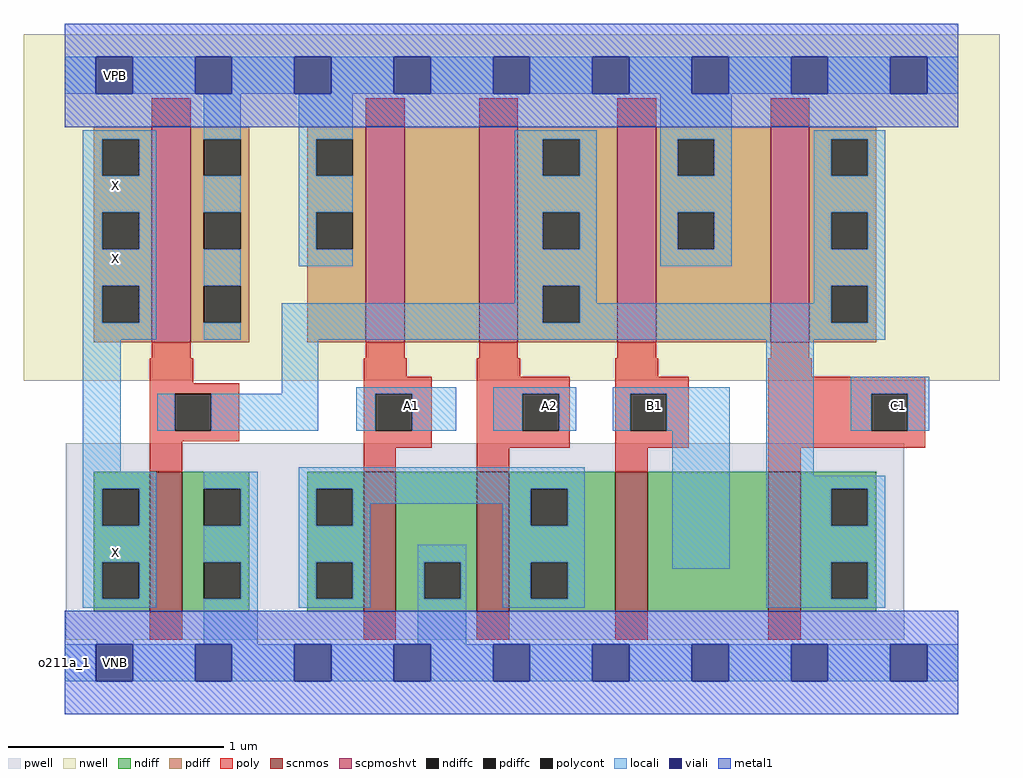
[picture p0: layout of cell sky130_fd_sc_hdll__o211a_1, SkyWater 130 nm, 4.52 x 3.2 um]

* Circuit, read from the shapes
.subckt sky130_fd_sc_hdll__o211a_1 A1 A2 B1 C1 VGND VNB VPB VPWR X
XM1 VGND n1 X VNB sky130_fd_pr__nfet_01v8 w=0.65 l=0.15
XM2 VGND A1 n2 VNB sky130_fd_pr__nfet_01v8 w=0.65 l=0.15
XM3 n2 A2 VGND VNB sky130_fd_pr__nfet_01v8 w=0.65 l=0.15
XM4 n3 B1 n2 VNB sky130_fd_pr__nfet_01v8 w=0.65 l=0.15
XM5 n1 C1 n3 VNB sky130_fd_pr__nfet_01v8 w=0.65 l=0.15
XM6 VPWR n1 X VPB sky130_fd_pr__pfet_01v8_hvt w=1 l=0.18
XM7 n4 A1 VPWR VPB sky130_fd_pr__pfet_01v8_hvt w=1 l=0.18
XM8 n1 A2 n4 VPB sky130_fd_pr__pfet_01v8_hvt w=1 l=0.18
XM9 VPWR B1 n1 VPB sky130_fd_pr__pfet_01v8_hvt w=1 l=0.18
XM10 n1 C1 VPWR VPB sky130_fd_pr__pfet_01v8_hvt w=1 l=0.18
.ends

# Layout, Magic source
magic
tech sky130A
magscale 1 2
<< nwell >>
rect -38 261 866 582
<< pwell >>
rect 1 21 778 203
rect 30 -17 64 21
<< scnmos >>
rect 79 47 109 177
rect 277 47 307 177
rect 382 47 412 177
rect 510 47 540 177
rect 652 47 682 177
<< scpmoshvt >>
rect 81 297 117 497
rect 279 297 315 497
rect 384 297 420 497
rect 512 297 548 497
rect 654 297 690 497
<< ndiff >>
rect 27 161 79 177
rect 27 127 35 161
rect 69 127 79 161
rect 27 93 79 127
rect 27 59 35 93
rect 69 59 79 93
rect 27 47 79 59
rect 109 161 171 177
rect 109 127 129 161
rect 163 127 171 161
rect 109 93 171 127
rect 109 59 129 93
rect 163 59 171 93
rect 109 47 171 59
rect 225 161 277 177
rect 225 127 233 161
rect 267 127 277 161
rect 225 93 277 127
rect 225 59 233 93
rect 267 59 277 93
rect 225 47 277 59
rect 307 93 382 177
rect 307 59 333 93
rect 367 59 382 93
rect 307 47 382 59
rect 412 161 510 177
rect 412 127 432 161
rect 466 127 510 161
rect 412 93 510 127
rect 412 59 432 93
rect 466 59 510 93
rect 412 47 510 59
rect 540 47 652 177
rect 682 161 752 177
rect 682 127 710 161
rect 744 127 752 161
rect 682 93 752 127
rect 682 59 710 93
rect 744 59 752 93
rect 682 47 752 59
<< pdiff >>
rect 27 485 81 497
rect 27 451 35 485
rect 69 451 81 485
rect 27 417 81 451
rect 27 383 35 417
rect 69 383 81 417
rect 27 349 81 383
rect 27 315 35 349
rect 69 315 81 349
rect 27 297 81 315
rect 117 485 171 497
rect 117 451 129 485
rect 163 451 171 485
rect 117 417 171 451
rect 117 383 129 417
rect 163 383 171 417
rect 117 349 171 383
rect 117 315 129 349
rect 163 315 171 349
rect 117 297 171 315
rect 225 485 279 497
rect 225 451 233 485
rect 267 451 279 485
rect 225 417 279 451
rect 225 383 233 417
rect 267 383 279 417
rect 225 297 279 383
rect 315 297 384 497
rect 420 485 512 497
rect 420 451 443 485
rect 477 451 512 485
rect 420 417 512 451
rect 420 383 443 417
rect 477 383 512 417
rect 420 349 512 383
rect 420 315 443 349
rect 477 315 512 349
rect 420 297 512 315
rect 548 485 654 497
rect 548 451 568 485
rect 602 451 654 485
rect 548 417 654 451
rect 548 383 568 417
rect 602 383 654 417
rect 548 297 654 383
rect 690 485 752 497
rect 690 451 710 485
rect 744 451 752 485
rect 690 417 752 451
rect 690 383 710 417
rect 744 383 752 417
rect 690 349 752 383
rect 690 315 710 349
rect 744 315 752 349
rect 690 297 752 315
<< ndiffc >>
rect 35 127 69 161
rect 35 59 69 93
rect 129 127 163 161
rect 129 59 163 93
rect 233 127 267 161
rect 233 59 267 93
rect 333 59 367 93
rect 432 127 466 161
rect 432 59 466 93
rect 710 127 744 161
rect 710 59 744 93
<< pdiffc >>
rect 35 451 69 485
rect 35 383 69 417
rect 35 315 69 349
rect 129 451 163 485
rect 129 383 163 417
rect 129 315 163 349
rect 233 451 267 485
rect 233 383 267 417
rect 443 451 477 485
rect 443 383 477 417
rect 443 315 477 349
rect 568 451 602 485
rect 568 383 602 417
rect 710 451 744 485
rect 710 383 744 417
rect 710 315 744 349
<< poly >>
rect 81 497 117 523
rect 279 497 315 523
rect 384 497 420 523
rect 512 497 548 523
rect 654 497 690 523
rect 81 282 117 297
rect 279 282 315 297
rect 384 282 420 297
rect 512 282 548 297
rect 654 282 690 297
rect 79 259 119 282
rect 277 265 317 282
rect 382 265 422 282
rect 510 265 550 282
rect 652 265 692 282
rect 79 249 162 259
rect 79 215 102 249
rect 136 215 162 249
rect 79 205 162 215
rect 277 249 340 265
rect 277 215 288 249
rect 322 215 340 249
rect 79 177 109 205
rect 277 199 340 215
rect 382 249 468 265
rect 382 215 424 249
rect 458 215 468 249
rect 382 199 468 215
rect 510 249 578 265
rect 510 215 524 249
rect 558 215 578 249
rect 510 199 578 215
rect 652 249 797 265
rect 652 215 747 249
rect 781 215 797 249
rect 652 199 797 215
rect 277 177 307 199
rect 382 177 412 199
rect 510 177 540 199
rect 652 177 682 199
rect 79 21 109 47
rect 277 21 307 47
rect 382 21 412 47
rect 510 21 540 47
rect 652 21 682 47
<< polycont >>
rect 102 215 136 249
rect 288 215 322 249
rect 424 215 458 249
rect 524 215 558 249
rect 747 215 781 249
<< locali >>
rect 0 527 29 561
rect 63 527 121 561
rect 155 527 213 561
rect 247 527 305 561
rect 339 527 397 561
rect 431 527 489 561
rect 523 527 581 561
rect 615 527 673 561
rect 707 527 765 561
rect 799 527 828 561
rect 17 485 85 493
rect 17 451 35 485
rect 69 451 85 485
rect 17 417 85 451
rect 17 383 35 417
rect 69 383 85 417
rect 17 349 85 383
rect 17 315 35 349
rect 69 315 85 349
rect 17 299 85 315
rect 129 485 163 527
rect 129 417 163 451
rect 129 349 163 383
rect 217 485 267 527
rect 217 451 233 485
rect 217 417 267 451
rect 217 383 233 417
rect 217 367 267 383
rect 417 485 493 493
rect 417 451 443 485
rect 477 451 493 485
rect 417 417 493 451
rect 417 383 443 417
rect 477 383 493 417
rect 417 349 493 383
rect 552 485 618 527
rect 552 451 568 485
rect 602 451 618 485
rect 552 417 618 451
rect 552 383 568 417
rect 602 383 618 417
rect 552 367 618 383
rect 694 485 760 493
rect 694 451 710 485
rect 744 451 760 485
rect 694 417 760 451
rect 694 383 710 417
rect 744 383 760 417
rect 417 333 443 349
rect 129 299 163 315
rect 201 315 443 333
rect 477 333 493 349
rect 694 349 760 383
rect 694 333 710 349
rect 477 315 710 333
rect 744 315 760 349
rect 201 299 760 315
rect 17 177 52 299
rect 201 249 235 299
rect 86 215 102 249
rect 136 215 235 249
rect 270 249 363 255
rect 270 215 288 249
rect 322 215 363 249
rect 397 249 474 255
rect 397 215 424 249
rect 458 215 474 249
rect 508 249 616 255
rect 508 215 524 249
rect 558 215 616 249
rect 17 161 85 177
rect 17 127 35 161
rect 69 127 85 161
rect 17 93 85 127
rect 17 59 35 93
rect 69 59 85 93
rect 17 51 85 59
rect 129 161 179 177
rect 163 127 179 161
rect 129 93 179 127
rect 163 59 179 93
rect 129 17 179 59
rect 217 161 482 181
rect 217 127 233 161
rect 267 147 432 161
rect 267 127 283 147
rect 217 93 283 127
rect 406 127 432 147
rect 466 127 482 161
rect 217 59 233 93
rect 267 59 283 93
rect 217 51 283 59
rect 327 93 372 109
rect 327 59 333 93
rect 367 59 372 93
rect 327 17 372 59
rect 406 93 482 127
rect 406 59 432 93
rect 466 59 482 93
rect 563 87 616 215
rect 650 173 694 299
rect 728 249 801 265
rect 728 215 747 249
rect 781 215 801 249
rect 650 161 760 173
rect 650 127 710 161
rect 744 127 760 161
rect 650 93 760 127
rect 406 51 482 59
rect 650 59 710 93
rect 744 59 760 93
rect 650 51 760 59
rect 0 -17 29 17
rect 63 -17 121 17
rect 155 -17 213 17
rect 247 -17 305 17
rect 339 -17 397 17
rect 431 -17 489 17
rect 523 -17 581 17
rect 615 -17 673 17
rect 707 -17 765 17
rect 799 -17 828 17
<< viali >>
rect 29 527 63 561
rect 121 527 155 561
rect 213 527 247 561
rect 305 527 339 561
rect 397 527 431 561
rect 489 527 523 561
rect 581 527 615 561
rect 673 527 707 561
rect 765 527 799 561
rect 29 -17 63 17
rect 121 -17 155 17
rect 213 -17 247 17
rect 305 -17 339 17
rect 397 -17 431 17
rect 489 -17 523 17
rect 581 -17 615 17
rect 673 -17 707 17
rect 765 -17 799 17
<< metal1 >>
rect 0 561 828 592
rect 0 527 29 561
rect 63 527 121 561
rect 155 527 213 561
rect 247 527 305 561
rect 339 527 397 561
rect 431 527 489 561
rect 523 527 581 561
rect 615 527 673 561
rect 707 527 765 561
rect 799 527 828 561
rect 0 496 828 527
rect 0 17 828 48
rect 0 -17 29 17
rect 63 -17 121 17
rect 155 -17 213 17
rect 247 -17 305 17
rect 339 -17 397 17
rect 431 -17 489 17
rect 523 -17 581 17
rect 615 -17 673 17
rect 707 -17 765 17
rect 799 -17 828 17
rect 0 -48 828 -17
<< labels >>
flabel locali s 755 221 789 255 0 FreeSans 250 0 0 0 C1
port 4 nsew signal input
flabel locali s 524 221 568 255 0 FreeSans 250 0 0 0 B1
port 3 nsew signal input
flabel locali s 432 221 466 255 0 FreeSans 250 0 0 0 A2
port 2 nsew signal input
flabel locali s 304 221 338 255 0 FreeSans 250 0 0 0 A1
port 1 nsew signal input
flabel locali s 30 85 64 119 0 FreeSans 250 0 0 0 X
port 9 nsew signal output
flabel locali s 30 425 64 459 0 FreeSans 250 0 0 0 X
port 9 nsew signal output
flabel locali s 30 357 64 391 0 FreeSans 250 0 0 0 X
port 9 nsew signal output
flabel pwell s 30 -17 64 17 0 FreeSans 200 0 0 0 VNB
port 6 nsew ground bidirectional
flabel nwell s 30 527 64 561 0 FreeSans 200 0 0 0 VPB
port 7 nsew power bidirectional
flabel metal1 s 30 -17 64 17 0 FreeSans 200 0 0 0 VGND
port 5 nsew ground bidirectional
flabel metal1 s 30 527 64 561 0 FreeSans 200 0 0 0 VPWR
port 8 nsew power bidirectional
rlabel comment s 0 0 0 0 4 o211a_1
<< properties >>
string LEFsite unithd
string LEFclass CORE
string FIXED_BBOX 0 0 828 544
string GDS_FILE $PDKPATH/libs.ref/sky130_fd_sc_hdll/gds/sky130_fd_sc_hdll.gds
string LEFsymmetry X Y R90
string GDS_END 1034664
string GDS_START 1027576
string LEFproperties maskLayoutSubType "abstract" prCellType "standard" originalViewName "layout"
<< end >>
